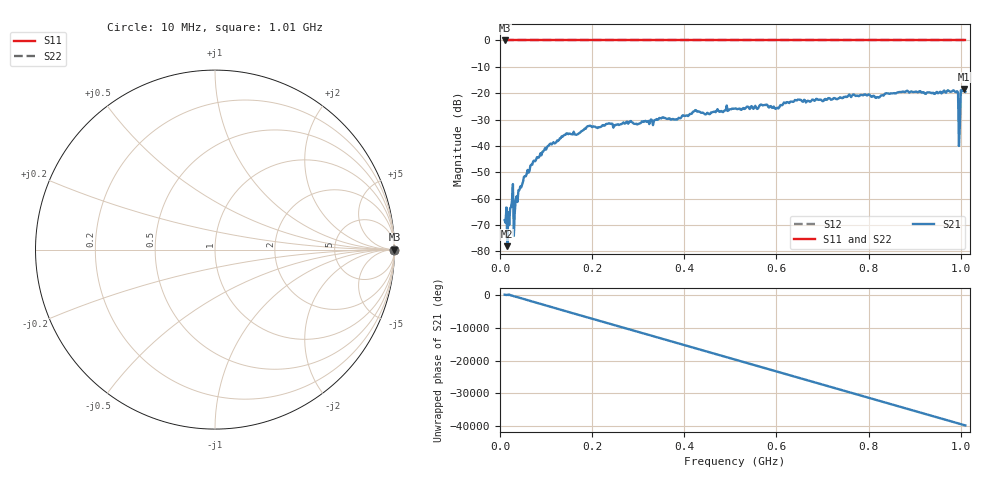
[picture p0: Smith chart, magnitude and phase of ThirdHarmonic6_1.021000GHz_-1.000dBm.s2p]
! 8/16/2025 8:34:18 AM
! C:\ANRITSUVNA\TEMP\TEMP.S2P
! CHANNEL.1
! TR.MEASUREMENT
! RAW.DATA
! RF.CORRECTION.OFF
! AVERAGING.OFF
! IF.BANDWIDTH: 5KHZ
! SWEEPTYPE:  FREQ.SWEEP(Linear)
! Reference Plane Port Info
! PORT:  PORT1  PORT2
! DISTANCE:  0  m  0  m
! TIME:  0  s  0  s
! PHASE.OFFSET:  0  deg.  0  deg.
! LOSS:  0  dB  0  dB
! REF.LOSS:  0  dB  0  dB
! REF.FREQ:  0  Hz  0  Hz
! Power Info
! POWER:  -20  dBm  -20  dBm
! EFF.POWER:  -20  dBm  -20  dBm
! SOURCE.ATTEN:  0  dB  0  dB
! TEST.ATTEN:  0  dB  0  dB
# GHZ S RI R 50.0
! FREQ.GHZ  S11RE  S11IM  S21RE  S21IM  S12RE  S12IM  S22RE  S22IM
!; PortSelection: Port_12
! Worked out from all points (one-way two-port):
!   501 points, 10 MHz to 1.01 GHz, reference 50 ohm
!   highest |S21| = -18.44 dB at 1.006 GHz (marker M1); lowest = -78.0 dB at 16 MHz (marker M2)
!   lowest |S11| = 0.0 dB at 10 MHz (marker M3)
!   |S11| at or under -10 dB: nowhere
!   |S22| runs from 0.0 to 0.0 dB; largest |S21 - S12| = 1.1
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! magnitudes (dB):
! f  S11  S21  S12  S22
! 10 MHz  0.0  -68.2  0.0  0.0
! 16 MHz  0.0  -78.0  0.0  0.0
! 20 MHz  0.0  -70.0  0.0  0.0
! 24 MHz  0.0  -63.2  0.0  0.0
! 34 MHz  0.0  -60.6  0.0  0.0
! 38 MHz  0.0  -61.3  0.0  0.0
! 44 MHz  0.0  -55.4  0.0  0.0
! 70 MHz  0.0  -47.1  0.0  0.0
! 138 MHz  0.0  -36.0  0.0  0.0
! 178 MHz  0.0  -34.3  0.0  0.0
! 344 MHz  0.0  -29.8  0.0  0.0
! 510 MHz  0.0  -25.8  0.0  0.0
! 600 MHz  0.0  -25.7  0.0  0.0
! 678 MHz  0.0  -22.4  0.0  0.0
! 844 MHz  0.0  -20.2  0.0  0.0
! 988 MHz  0.0  -19.5  0.0  0.0
! 990 MHz  0.0  -19.6  0.0  0.0
! 994 MHz  0.0  -19.7  0.0  0.0
! 1 GHz  0.0  -18.9  0.0  0.0
! 1.004 GHz  0.0  -18.6  0.0  0.0
! 1.006 GHz  0.0  -18.4  0.0  0.0
! 1.01 GHz  0.0  -19.5  0.0  0.0
